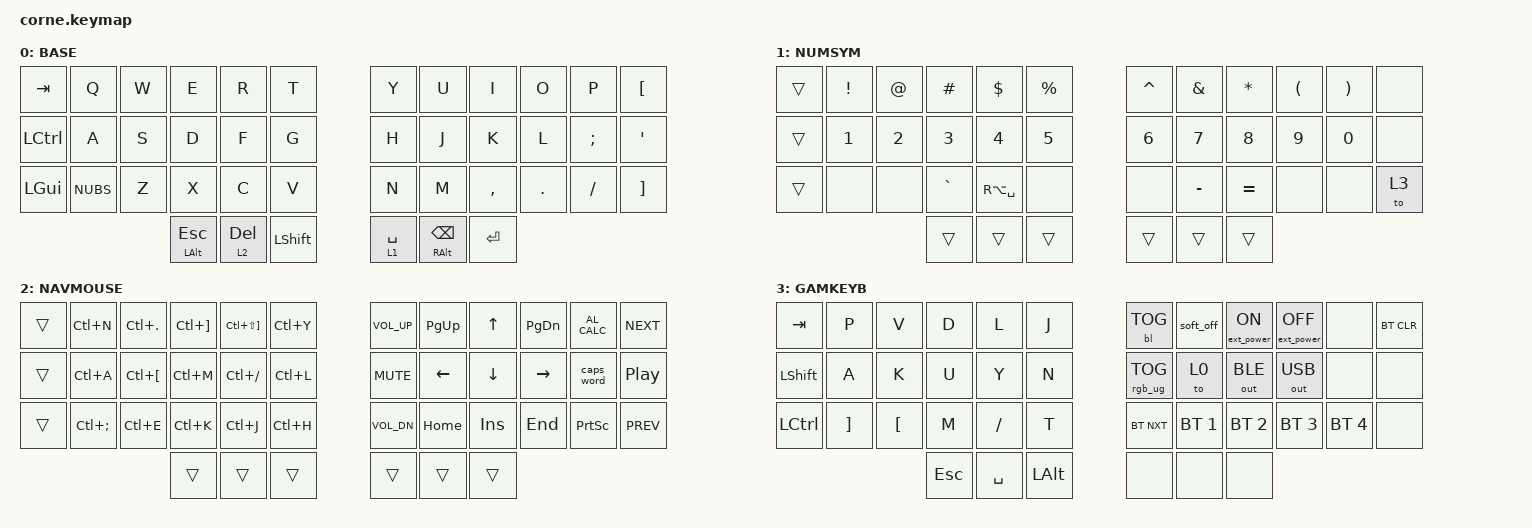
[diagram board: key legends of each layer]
#include <behaviors.dtsi>
#include <dt-bindings/zmk/backlight.h>
#include <dt-bindings/zmk/bt.h>
#include <dt-bindings/zmk/ext_power.h>
#include <dt-bindings/zmk/keys.h>
#include <dt-bindings/zmk/outputs.h>
#include <dt-bindings/zmk/rgb.h>

// Configure the RGB effects

&led_strip { chain-length = <27>; };

&caps_word { continue-list = <BACKSPACE DELETE N V M H Z>; };

#define TAPPING_TERM 200

/ {
    behaviors {
        /*
    * td_lock groups locking functions into one key:
    *  - tap once to lock the host
    *  - tap twice to put the host to sleep
    */

        td_lock: tap_dance_lock {
            compatible = "zmk,behavior-tap-dance";
            label = "TAP_DANCE_LOCK";
            #binding-cells = <0>;
            tapping-term-ms = <TAPPING_TERM>;
            bindings = <&kp LG(LC(Q))>, <&kp LG(LA(C_EJECT))>;
        };
    };

    combos {
        compatible = "zmk,combos";

        Clear_BLE_Profile {
            bindings = <&bt BT_CLR>;
            key-positions = <0 38 5>;
        };

        Space {
            bindings = <&kp SPACE>;
            key-positions = <29 28>;
        };

        Enter {
            bindings = <&kp ENTER>;
            key-positions = <17 16>;
        };

        Capslock {
            bindings = <&kp CLCK>;
            key-positions = <5 6>;
        };
    };

    macros {
        git_status: git_status {
            compatible = "zmk,behavior-macro";
            #binding-cells = <0>;
            bindings = <&kp G &kp I &kp T &kp SPACE &kp S &kp T &kp A &kp T &kp U &kp S>;
            label = "GIT_STATUS";
        };

        git_commit_all: git_commit_all {
            compatible = "zmk,behavior-macro";
            #binding-cells = <0>;
            bindings = <&kp G &kp I &kp T &kp SPACE &kp C &kp O &kp M &kp M &kp I &kp T &kp SPACE &kp MINUS &kp A &kp MINUS &kp M &kp SPACE &kp DQT &kp DQT &kp LEFT_ARROW>;
            label = "GIT_COMMIT";
        };
    };

    keymap {
        compatible = "zmk,keymap";

        Base {
            display-name = "BASE";
            bindings = <
&kp TAB    &kp Q     &kp W  &kp E         &kp R      &kp T        &kp Y        &kp U          &kp I      &kp O       &kp P     &kp LBKT
&kp LCTRL  &kp A     &kp S  &kp D         &kp F      &kp G        &kp H        &kp J          &kp K      &kp L       &kp SEMI  &kp APOS
&kp LGUI   &kp NUBS  &kp Z  &kp X         &kp C      &kp V        &kp N        &kp M          &kp COMMA  &kp PERIOD  &kp FSLH  &kp RBKT
                            &mt LALT ESC  &lt 2 DEL  &kp LSHFT    &lt 1 SPACE  &mt RALT BSPC  &kp RET
            >;
        };

        NumSym {
            display-name = "NUMSYM";
            bindings = <
&trans  &kp EXCL  &kp AT  &kp POUND  &kp DLLR       &kp PERCENT    &kp CARET  &kp AMPS   &kp STAR   &kp LPAR  &kp RPAR  &none
&trans  &kp N1    &kp N2  &kp N3     &kp N4         &kp N5         &kp N6     &kp N7     &kp N8     &kp N9    &kp N0    &none
&trans  &none     &none   &kp GRAVE  &kp RA(SPACE)  &none          &none      &kp MINUS  &kp EQUAL  &none     &none     &to 3
                          &trans     &trans         &trans         &trans     &trans     &trans
            >;
        };

        NavMouse {
            display-name = "NAVMOUSE";
            bindings = <
&trans  &kp LC(N)     &kp LC(PERIOD)  &kp LC(RBKT)  &kp LC(LS(RBKT))  &kp LC(Y)    &kp C_VOL_UP  &kp PG_UP  &kp UP    &kp PG_DN  &kp C_AL_CALC  &kp C_NEXT
&trans  &kp LC(A)     &kp LC(LBKT)    &kp LC(M)     &kp LC(FSLH)      &kp LC(L)    &kp C_MUTE    &kp LEFT   &kp DOWN  &kp RIGHT  &caps_word     &kp C_PP
&trans  &kp LC(SEMI)  &kp LC(E)       &kp LC(K)     &kp LC(J)         &kp LC(H)    &kp C_VOL_DN  &kp HOME   &kp INS   &kp END    &kp PSCRN      &kp C_PREV
                                      &trans        &trans            &trans       &trans        &trans     &trans
            >;
        };

        GamKeyb {
            display-name = "GAMKEYB";
            bindings = <
&kp TAB    &kp P     &kp V     &kp D    &kp L      &kp J       &bl BL_TOG       &soft_off     &ext_power EP_ON  &ext_power EP_OFF  &none         &bt BT_CLR
&kp LSHFT  &kp A     &kp K     &kp U    &kp Y      &kp N       &rgb_ug RGB_TOG  &to 0         &out OUT_BLE      &out OUT_USB       &none         &none
&kp LCTRL  &kp RBKT  &kp LBKT  &kp M    &kp FSLH   &kp T       &bt BT_NXT       &bt BT_SEL 1  &bt BT_SEL 2      &bt BT_SEL 3       &bt BT_SEL 4  &none
                               &kp ESC  &kp SPACE  &kp LALT    &none            &none         &none
            >;
        };
    };

    conditional_layers {
        compatible = "zmk,conditional-layers";

        Activate_EXT {
            if-layers = <1 2>;
            then-layer = <3>;
        };
    };
};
